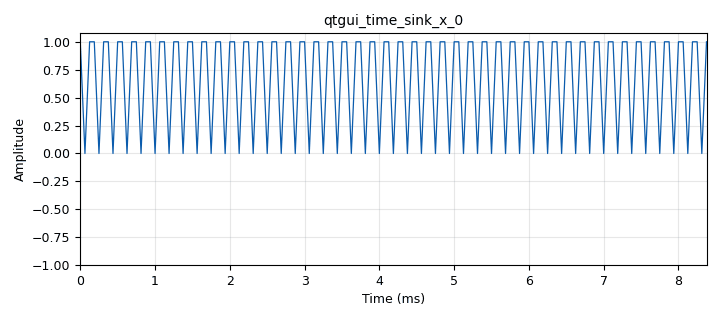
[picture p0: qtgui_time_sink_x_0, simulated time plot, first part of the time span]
options:
  parameters:
    author: labcom
    generate_options: qt_gui
    id: untitled
    output_language: python
    title: Not titled yet
  states: {}

blocks:
- name: samp_rate
  id: variable
  parameters:
    value: '16000'
  states: {}
- name: Acumulador
  id: epy_block
  parameters:
    _source_code: |
      """
      Embedded Python Blocks:

      Each time this file is saved, GRC will instantiate the first class it finds
      to get ports and parameters of your block. The arguments to __init__  will
      be the parameters. All of them are required to have default values!
      """

      import numpy as np
      from gnuradio import gr
      class blk (gr. sync_block ):
      		def __init__ ( self ) : # only default arguments here
      			gr. sync_block . __init__ (
      			self ,
      		name ="Acumulador", # will show up in GRC
      		in_sig =[ np. float32 ],
      		out_sig =[ np. float32 ]
      		)
      		
      		def work (self , input_items , output_items ):
      			x = input_items [0] # Senial de entrada .
      			y0 = output_items [0] # Senial acumulada
      			y0 [:] = np. cumsum (x)
      			return len (y0)
  states: {}
- name: blocks_throttle_0
  id: blocks_throttle
  parameters:
    samples_per_second: samp_rate
    type: float
  states: {}
- name: blocks_vector_source_x_0
  id: blocks_vector_source_x
  parameters:
    repeat: 'True'
    type: float
    vector: (1, 0, -1)
  states: {}
- name: qtgui_time_sink_x_0
  id: qtgui_time_sink_x
  parameters:
    size: '1024'
    srate: samp_rate
    type: float
  states: {}

connections:
- [Acumulador, '0', qtgui_time_sink_x_0, '0']
- [blocks_throttle_0, '0', Acumulador, '0']
- [blocks_vector_source_x_0, '0', blocks_throttle_0, '0']

metadata:
  file_format: 1
  grc_version: 3.10.5.1
